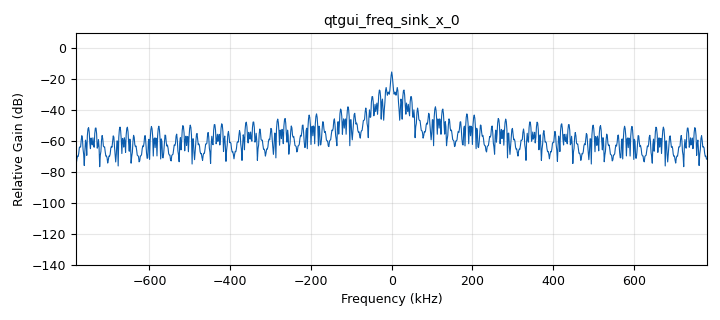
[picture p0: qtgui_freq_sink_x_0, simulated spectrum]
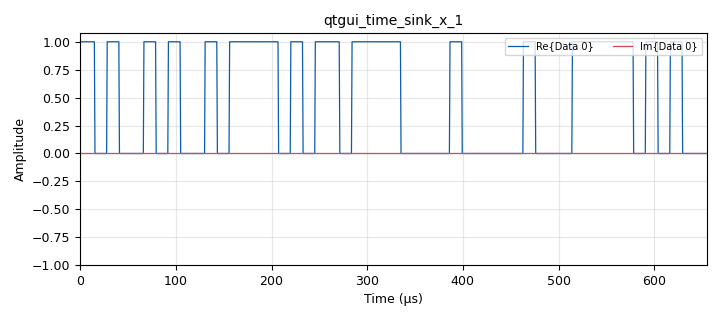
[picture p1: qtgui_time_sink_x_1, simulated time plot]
options:
  parameters:
    author: G6_H1
    copyright: UIS
    description: Modulaciones ASK en GNURadio
    generate_options: qt_gui
    id: Practica2_labComu2_G6
    output_language: python
    title: Modulaciones ASK
  states: {}

blocks:
- name: Ac
  id: variable_qtgui_range
  parameters:
    label: Amplitud de Portadora
    start: '0'
    step: '0.1'
    stop: '2'
    value: '1'
  states: {}
- name: DC
  id: variable_qtgui_range
  parameters:
    start: '-2'
    step: '0.1'
    stop: '2'
    value: '0'
  states: {}
- name: GTX
  id: variable_qtgui_range
  parameters:
    label: Ganancia del TX
    start: '0'
    step: '1'
    stop: '30'
    value: '0'
  states: {}
- name: fc
  id: variable_qtgui_range
  parameters:
    label: Frecuencia de Portadora
    start: 50e6
    step: 1e6
    stop: 2.2e9
    value: 50e6
  states: {}
- name: ka
  id: variable_qtgui_range
  parameters:
    label: Coeficiente de Estabilidad Ka
    start: '0'
    step: '0.1'
    stop: '1'
    value: '1'
  states: {}
- name: samp_rate
  id: variable
  parameters:
    value: 15625e2
  states: {}
- name: analog_random_source_x_0
  id: analog_random_source_x
  parameters:
    max: '2'
    min: '0'
    num_samps: '100000'
    repeat: 'True'
    type: byte
  states: {}
- name: blocks_add_const_vxx_0
  id: blocks_add_const_vxx
  parameters:
    const: DC
    type: float
  states: {}
- name: blocks_float_to_complex_0
  id: blocks_float_to_complex
  parameters: {}
  states: {}
- name: blocks_multiply_const_vxx_0
  id: blocks_multiply_const_vxx
  parameters:
    const: ka
    type: float
  states: {}
- name: blocks_multiply_const_vxx_1
  id: blocks_multiply_const_vxx
  parameters:
    const: '1'
    type: complex
  states: {}
- name: blocks_null_source_0
  id: blocks_null_source
  parameters:
    type: float
  states: {}
- name: blocks_repeat_0
  id: blocks_repeat
  parameters:
    interp: '20'
    type: float
  states: {}
- name: blocks_uchar_to_float_0
  id: blocks_uchar_to_float
  parameters: {}
  states: {}
- name: qtgui_freq_sink_x_0
  id: qtgui_freq_sink_x
  parameters:
    bw: samp_rate
    fc: '0'
    fftsize: '1024'
    type: complex
  states: {}
- name: qtgui_time_sink_x_1
  id: qtgui_time_sink_x
  parameters:
    size: '1024'
    srate: samp_rate
    type: complex
  states: {}
- name: uhd_usrp_sink_0
  id: uhd_usrp_sink
  parameters:
    ant0: TX/RX
    center_freq0: fc
    dev_args: '""'
    gain0: GTX
    len_tag_name: ''
    samp_rate: samp_rate
    sync: pc_clock
    type: fc32
  states: {}

connections:
- [analog_random_source_x_0, '0', blocks_uchar_to_float_0, '0']
- [blocks_add_const_vxx_0, '0', blocks_float_to_complex_0, '0']
- [blocks_float_to_complex_0, '0', blocks_multiply_const_vxx_1, '0']
- [blocks_multiply_const_vxx_0, '0', blocks_add_const_vxx_0, '0']
- [blocks_multiply_const_vxx_1, '0', qtgui_freq_sink_x_0, '0']
- [blocks_multiply_const_vxx_1, '0', qtgui_time_sink_x_1, '0']
- [blocks_multiply_const_vxx_1, '0', uhd_usrp_sink_0, '0']
- [blocks_null_source_0, '0', blocks_float_to_complex_0, '1']
- [blocks_repeat_0, '0', blocks_multiply_const_vxx_0, '0']
- [blocks_uchar_to_float_0, '0', blocks_repeat_0, '0']

metadata:
  file_format: 1
